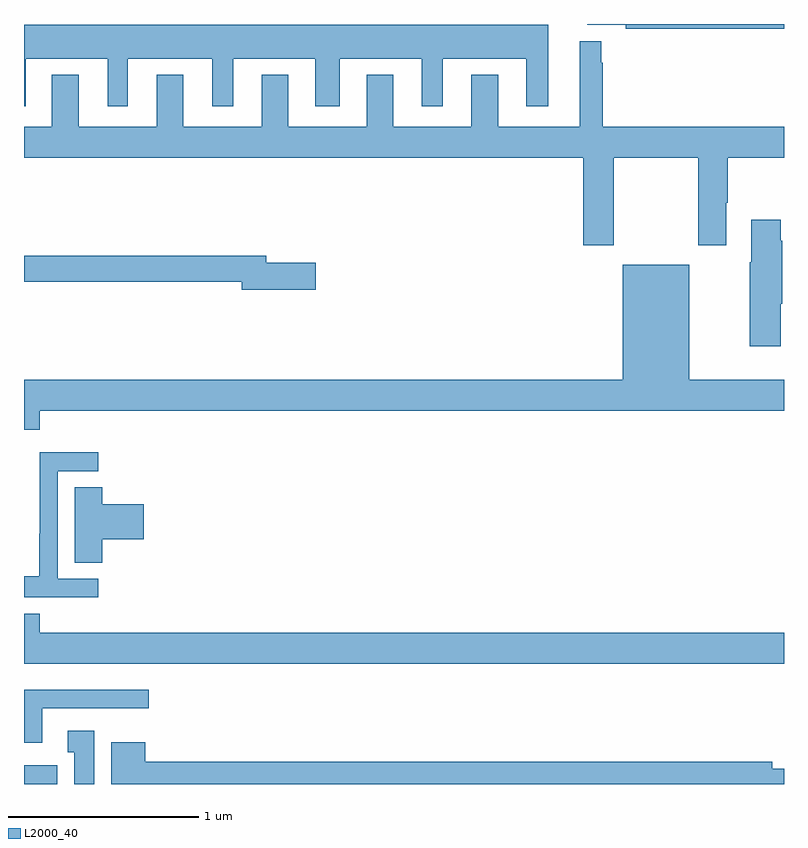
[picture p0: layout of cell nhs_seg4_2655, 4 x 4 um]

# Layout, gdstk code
import gdstk
lib = gdstk.Library(unit=1e-6, precision=1e-09)
def R(c, l, rs):  # rectangles x0, y0, x1, y1
    for r in rs: c.add(gdstk.rectangle(r[:2], r[2:], *l))
def P(c, l, *ps):  # polygons
    for p in ps: c.add(gdstk.Polygon(p, *l))
L2000_40 = (2000, 40)

nhs_seg4_2655 = lib.new_cell('nhs_seg4_2655')
R(nhs_seg4_2655, L2000_40, [(251,750.9,251.176,751)])
P(nhs_seg4_2655, L2000_40, [(255,754.9),(253.964,754.9),(253.964,754.896),(254.168,754.896),(254.168,754.876),(255,754.876)],
  [(251.008,754.718),(251.441,754.718),(251.441,754.467),(251.545,754.467),(251.545,754.718),(251.99,754.718),(251.99,754.467),(252.1,754.467),(252.1,754.718),(252.533,754.718),(252.533,754.467),(252.661,754.467),(252.661,754.718),(253.094,754.718),(253.094,754.467),(253.204,754.467),(253.204,754.718),(253.643,754.718),(253.643,754.467),(253.759,754.467),(253.759,754.897),(251,754.897),(251,754.467),(251.008,754.467)],
  [(254.103,754.196),(254.548,754.196),(254.548,753.735),(254.695,753.735),(254.695,753.958),(254.703,753.958),(254.703,754.196),(255,754.196),(255,754.36),(254.047,754.36),(254.047,754.697),(254.038,754.697),(254.038,754.81),(253.925,754.81),(253.925,754.36),(253.495,754.36),(253.495,754.633),(253.355,754.633),(253.355,754.36),(252.943,754.36),(252.943,754.633),(252.803,754.633),(252.803,754.36),(252.391,754.36),(252.391,754.633),(252.251,754.633),(252.251,754.36),(251.839,754.36),(251.839,754.633),(251.699,754.633),(251.699,754.36),(251.287,754.36),(251.287,754.633),(251.147,754.633),(251.147,754.36),(251,754.36),(251,754.196),(253.943,754.196),(253.943,753.735),(254.103,753.735)],
  [(254.983,753.427),(254.991,753.427),(254.991,753.758),(254.983,753.758),(254.983,753.871),(254.828,753.871),(254.828,753.647),(254.821,753.647),(254.821,753.204),(254.983,753.204)],
  [(252.535,753.644),(252.274,753.644),(252.274,753.68),(251,753.68),(251,753.544),(252.146,753.544),(252.146,753.502),(252.535,753.502)],
  [(251.084,752.864),(255,752.864),(255,753.028),(254.5,753.028),(254.5,753.634),(254.15,753.634),(254.15,753.028),(251,753.028),(251,752.765),(251.084,752.765)],
  [(251.392,751.98),(251.178,751.98),(251.178,752.547),(251.392,752.547),(251.392,752.646),(251.082,752.646),(251.082,752.216),(251.08,752.216),(251.08,751.993),(251,751.993),(251,751.884),(251.392,751.884)],
  [(251.411,752.189),(251.629,752.189),(251.629,752.372),(251.411,752.372),(251.411,752.462),(251.267,752.462),(251.267,752.065),(251.411,752.065)],
  [(255,751.696),(251.084,751.696),(251.084,751.795),(251,751.795),(251,751.532),(255,751.532)],
  [(251.095,751.299),(251.656,751.299),(251.656,751.396),(251,751.396),(251,751.118),(251.095,751.118)],
  [(251.371,751.18),(251.231,751.18),(251.231,751.067),(251.264,751.067),(251.264,750.9),(251.371,750.9)],
  [(255,750.98),(254.938,750.98),(254.938,751.016),(251.638,751.016),(251.638,751.12),(251.459,751.12),(251.459,750.9),(255,750.9)])

lib.write_gds('nhs_seg4_2655.gds')
